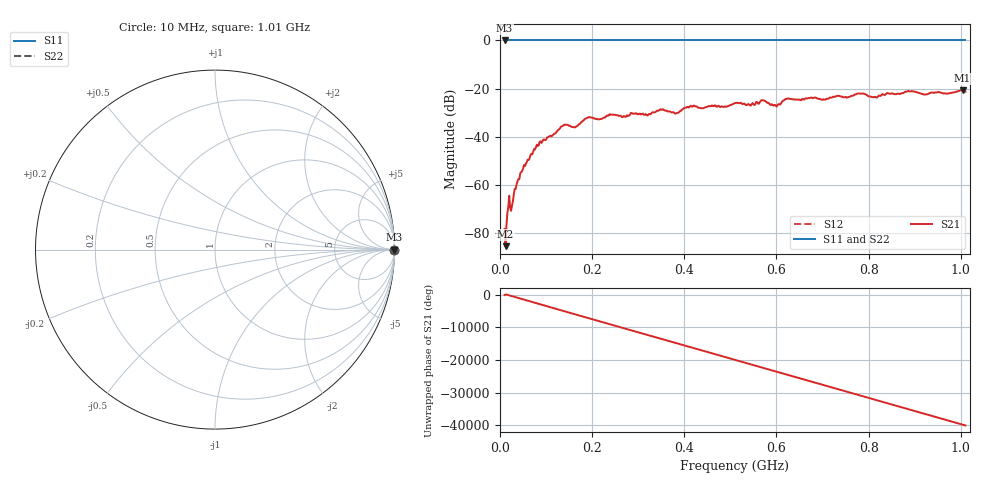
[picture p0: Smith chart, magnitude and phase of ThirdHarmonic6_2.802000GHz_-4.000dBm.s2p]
! 8/17/2025 7:18:22 AM
! C:\ANRITSUVNA\TEMP\TEMP.S2P
! CHANNEL.1
! TR.MEASUREMENT
! RAW.DATA
! RF.CORRECTION.OFF
! AVERAGING.OFF
! IF.BANDWIDTH: 5KHZ
! SWEEPTYPE:  FREQ.SWEEP(Linear)
! Reference Plane Port Info
! PORT:  PORT1  PORT2
! DISTANCE:  0  m  0  m
! TIME:  0  s  0  s
! PHASE.OFFSET:  0  deg.  0  deg.
! LOSS:  0  dB  0  dB
! REF.LOSS:  0  dB  0  dB
! REF.FREQ:  0  Hz  0  Hz
! Power Info
! POWER:  -20  dBm  -20  dBm
! EFF.POWER:  -20  dBm  -20  dBm
! SOURCE.ATTEN:  0  dB  0  dB
! TEST.ATTEN:  0  dB  0  dB
# GHZ S RI R 50.0
! FREQ.GHZ  S11RE  S11IM  S21RE  S21IM  S12RE  S12IM  S22RE  S22IM
!; PortSelection: Port_12
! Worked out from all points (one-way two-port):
!   501 points, 10 MHz to 1.01 GHz, reference 50 ohm
!   highest |S21| = -20.66 dB at 1.004 GHz (marker M1); lowest = -85.6 dB at 12 MHz (marker M2)
!   lowest |S11| = 0.0 dB at 10 MHz (marker M3)
!   |S11| at or under -10 dB: nowhere
!   |S22| runs from 0.0 to 0.0 dB; largest |S21 - S12| = 1.1
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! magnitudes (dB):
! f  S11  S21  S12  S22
! 10 MHz  0.0  -78.4  0.0  0.0
! 12 MHz  0.0  -85.6  0.0  0.0
! 18 MHz  0.0  -69.2  0.0  0.0
! 26 MHz  0.0  -68.8  0.0  0.0
! 42 MHz  0.0  -57.6  0.0  0.0
! 76 MHz  0.0  -45.3  0.0  0.0
! 136 MHz  0.0  -35.6  0.0  0.0
! 162 MHz  0.0  -36.2  0.0  0.0
! 178 MHz  0.0  -33.8  0.0  0.0
! 194 MHz  0.0  -31.9  0.0  0.0
! 322 MHz  0.0  -30.9  0.0  0.0
! 344 MHz  0.0  -29.3  0.0  0.0
! 384 MHz  0.0  -30.2  0.0  0.0
! 418 MHz  0.0  -27.5  0.0  0.0
! 510 MHz  0.0  -26.1  0.0  0.0
! 570 MHz  0.0  -24.8  0.0  0.0
! 598 MHz  0.0  -26.9  0.0  0.0
! 622 MHz  0.0  -24.3  0.0  0.0
! 678 MHz  0.0  -24.0  0.0  0.0
! 844 MHz  0.0  -22.1  0.0  0.0
! 1.004 GHz  0.0  -20.7  0.0  0.0
! 1.01 GHz  0.0  -21.3  0.0  0.0
